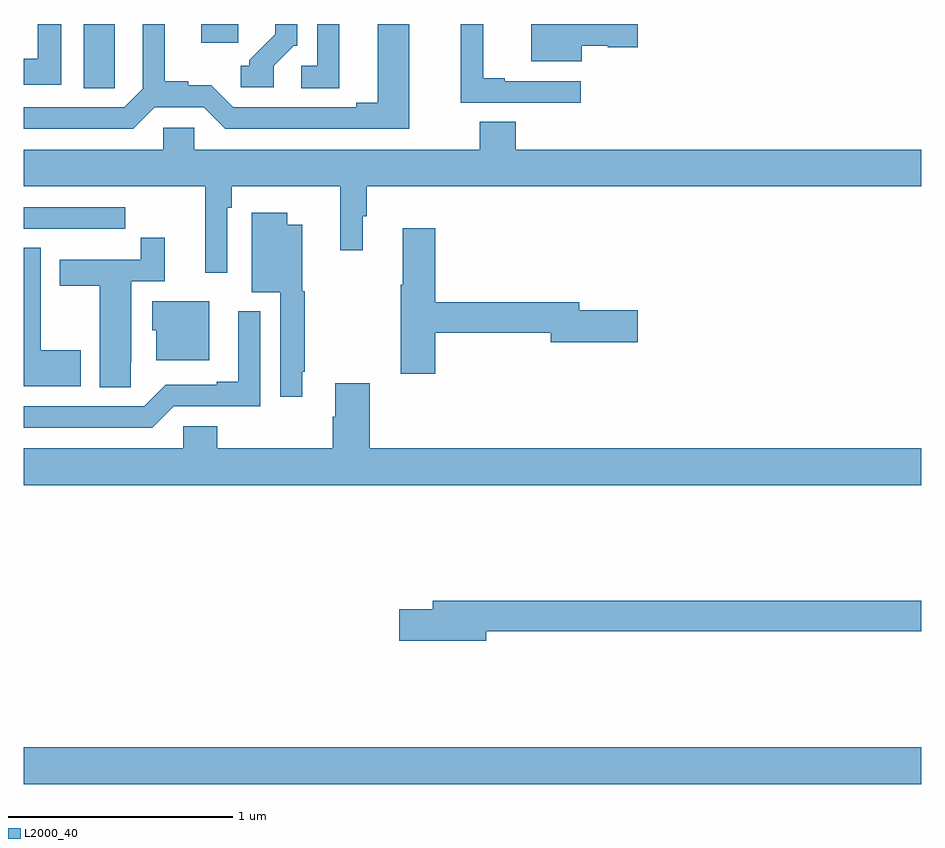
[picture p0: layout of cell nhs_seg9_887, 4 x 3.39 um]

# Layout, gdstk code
import gdstk
lib = gdstk.Library(unit=1e-6, precision=1e-09)
def R(c, l, rs):  # rectangles x0, y0, x1, y1
    for r in rs: c.add(gdstk.rectangle(r[:2], r[2:], *l))
def P(c, l, *ps):  # polygons
    for p in ps: c.add(gdstk.Polygon(p, *l))
L2000_40 = (2000, 40)

nhs_seg9_887 = lib.new_cell('nhs_seg9_887')
R(nhs_seg9_887, L2000_40, [(159,1171.112,163,1171.276), (159.791,1174.416,159.955,1174.5)])
P(nhs_seg9_887, L2000_40, [(160.113,1174.314),(160.203,1174.404),(160.218,1174.404),(160.218,1174.5),(160.121,1174.5),(160.121,1174.454),(160.005,1174.338),(160.005,1174.314),(159.966,1174.314),(159.966,1174.218),(160.113,1174.218)],
  [(159.166,1174.5),(159.062,1174.5),(159.062,1174.346),(159,1174.346),(159,1174.23),(159.166,1174.23)],
  [(159.583,1174.128),(159.801,1174.128),(159.897,1174.032),(160.717,1174.032),(160.717,1174.5),(160.577,1174.5),(160.577,1174.148),(160.481,1174.148),(160.481,1174.128),(159.933,1174.128),(159.836,1174.226),(159.732,1174.226),(159.732,1174.244),(159.628,1174.244),(159.628,1174.5),(159.531,1174.5),(159.531,1174.212),(159.447,1174.128),(159,1174.128),(159,1174.032),(159.487,1174.032)],
  [(159.405,1174.321),(159.406,1174.321),(159.406,1174.5),(159.266,1174.5),(159.266,1174.213),(159.405,1174.213)],
  [(161.488,1174.403),(161.604,1174.403),(161.604,1174.396),(161.737,1174.396),(161.737,1174.5),(161.261,1174.5),(161.261,1174.334),(161.488,1174.334)],
  [(161.482,1174.245),(161.143,1174.245),(161.143,1174.258),(161.048,1174.258),(161.048,1174.5),(160.948,1174.5),(160.948,1174.149),(161.482,1174.149)],
  [(160.405,1174.5),(160.308,1174.5),(160.308,1174.314),(160.236,1174.314),(160.236,1174.213),(160.405,1174.213)],
  [(159.906,1173.68),(159.926,1173.68),(159.926,1173.776),(160.411,1173.776),(160.411,1173.492),(160.51,1173.492),(160.51,1173.642),(160.529,1173.642),(160.529,1173.776),(163,1173.776),(163,1173.94),(161.192,1173.94),(161.192,1174.064),(161.032,1174.064),(161.032,1173.94),(159.759,1173.94),(159.759,1174.038),(159.621,1174.038),(159.621,1173.94),(159,1173.94),(159,1173.776),(159.809,1173.776),(159.809,1173.39),(159.906,1173.39)],
  [(159.338,1173.588),(159.451,1173.588),(159.451,1173.684),(159,1173.684),(159,1173.588),(159.172,1173.588),(159.172,1173.587),(159.338,1173.587)],
  [(160.24,1172.95),(160.252,1172.95),(160.252,1173.309),(160.24,1173.309),(160.24,1173.604),(160.174,1173.604),(160.174,1173.658),(160.016,1173.658),(160.016,1173.305),(160.143,1173.305),(160.143,1172.838),(160.24,1172.838)],
  [(160.835,1173.124),(161.348,1173.124),(161.348,1173.082),(161.737,1173.082),(161.737,1173.224),(161.476,1173.224),(161.476,1173.26),(160.835,1173.26),(160.835,1173.589),(160.688,1173.589),(160.688,1173.337),(160.681,1173.337),(160.681,1172.94),(160.835,1172.94)],
  [(159.477,1172.992),(159.478,1172.992),(159.478,1173.354),(159.629,1173.354),(159.629,1173.547),(159.52,1173.547),(159.52,1173.45),(159.161,1173.45),(159.161,1173.334),(159.338,1173.334),(159.338,1172.881),(159.477,1172.881)],
  [(159.253,1173.045),(159.076,1173.045),(159.076,1173.503),(159,1173.503),(159,1172.885),(159.253,1172.885)],
  [(159.826,1173.265),(159.572,1173.265),(159.572,1173.135),(159.59,1173.135),(159.59,1173.002),(159.826,1173.002)],
  [(159.669,1172.796),(160.053,1172.796),(160.053,1173.22),(159.956,1173.22),(159.956,1172.905),(159.86,1172.905),(159.86,1172.892),(159.633,1172.892),(159.537,1172.796),(159,1172.796),(159,1172.7),(159.573,1172.7)],
  [(163,1172.608),(160.541,1172.608),(160.541,1172.899),(160.388,1172.899),(160.388,1172.75),(160.376,1172.75),(160.376,1172.608),(159.863,1172.608),(159.863,1172.706),(159.711,1172.706),(159.711,1172.608),(159,1172.608),(159,1172.444),(163,1172.444)],
  [(161.062,1171.792),(163,1171.792),(163,1171.928),(160.823,1171.928),(160.823,1171.892),(160.674,1171.892),(160.674,1171.75),(161.062,1171.75)])

lib.write_gds('nhs_seg9_887.gds')
